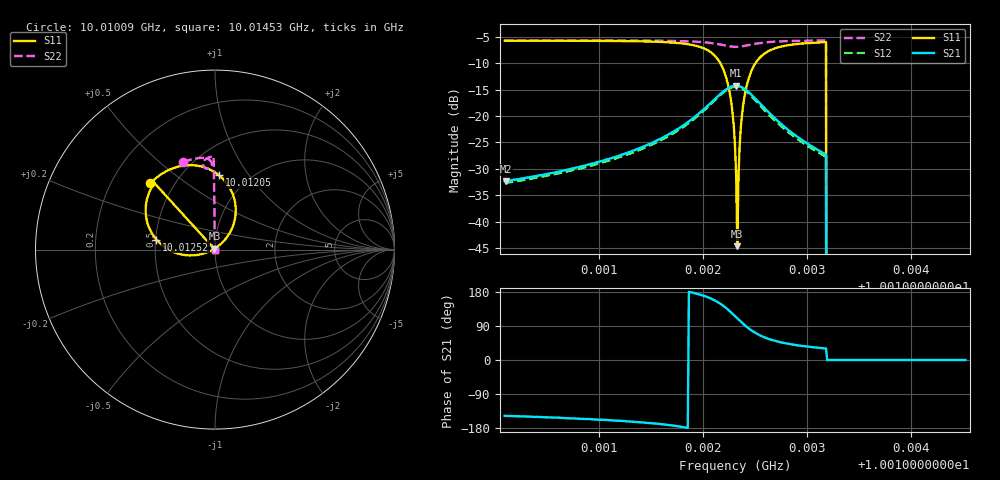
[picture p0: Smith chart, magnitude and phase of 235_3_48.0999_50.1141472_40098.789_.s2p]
#  HZ  S  RI  R  50.00
! Rohde & Schwarz Vector Network Analyzer
! Rohde-Schwarz,ZNB20-2Port,1311601062101988,3.16
! Created: UTC 12/23/2023, 3:58:12 AM
! freq[Hz]  re:S11  im:S11  re:S21  im:S21  re:S12  im:S12  re:S22  im:S22
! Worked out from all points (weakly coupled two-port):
!   401 points, 10.01009 GHz to 10.01453 GHz, reference 50 ohm
!   highest |S21| = -14.26 dB at 10.01232 GHz (marker M1); lowest = -32.4 dB at 10.0101 GHz (marker M2)
!   lowest |S11| = -44.7 dB at 10.01233 GHz (marker M3), VSWR 1.01, Z = 49.7 + j0.498 ohm
!   |S11| at or under -10 dB: 10.01216 GHz to 10.0125 GHz (338.5 kHz wide, 0.00338 % of centre); 10.01318 GHz to end of sweep
!   |S22| runs from - to -5.7 dB; largest |S21 - S12| = 0.0096
!   S11 on the Smith chart (normalised r, x): 10.01009 GHz: 0.37, +0.37; 10.01205 GHz: 0.73, +0.73; 10.01252 GHz: 0.51, +0.06; 10.01453 GHz: 1.00, +0.00
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1.0010087e10  -0.3614 0.3689  -0.0203 -0.013  -0.0187 -0.0135  -0.1767 0.4879
1.0010098e10  -0.3607 0.3694  -0.0203 -0.013  -0.0188 -0.0136  -0.176 0.4882
1.001083e10  -0.3056 0.4157  -0.0304 -0.0138  -0.0284 -0.0149  -0.1284 0.5031
1.0011574e10  -0.1974 0.464  -0.0589 -0.0118  -0.056 -0.0142  -0.0729 0.5113
1.0012051e10  0.0215 0.4146  -0.1227 0.033  -0.1207 0.0256  -0.0251 0.4945
1.0012162e10  0.1009 0.3035  -0.1376 0.0822  -0.1384 0.0739  -0.0177 0.4762
1.0012239e10  0.1099 0.1642  -0.1248 0.1347  -0.1282 0.126  -0.0229 0.4595
1.0012284e10  0.0707 0.0749  -0.1003 0.1635  -0.1049 0.1558  -0.0318 0.4524
1.0012306e10  0.0374 0.0362  -0.0841 0.1743  -0.0886 0.1671  -0.0372 0.4505
1.0012317e10  0.0187 0.0204  -0.0758 0.1781  -0.0797 0.1713  -0.0404 0.4502
1.0012328e10  -0.00302 0.00501  -0.0664 0.1813  -0.0709 0.1746  -0.0432 0.4501
1.001235e10  -0.0481 -0.0169  -0.0476 0.1848  -0.052 0.1786  -0.0492 0.4514
1.0012373e10  -0.0961 -0.0295  -0.0283 0.1849  -0.0328 0.1787  -0.0545 0.4537
1.0012395e10  -0.144 -0.0324  -0.01 0.1815  -0.0144 0.1754  -0.059 0.4573
1.0012439e10  -0.2288 -0.0145  0.0205 0.1666  0.0144 0.1613  -0.0648 0.4661
1.0012517e10  -0.3264 0.0559  0.0497 0.132  0.0441 0.1281  -0.0662 0.4817
1.0012694e10  -0.3862 0.2077  0.0601 0.0727  0.0546 0.0711  -0.0516 0.5041
1.0013049e10  -0.3534 0.3451  0.0426 0.0287  0.0392 0.0291  -0.0184 0.5179
1.001316e10  -0.3399 0.3669  0.0381 0.0227  0.0352 0.0234  -0.00924 0.5195
1.0013216e10  0 0  0 0  0 0  0 0
1.0013793e10  0 0  0 0  0 0  0 0
1.0014525e10  0 0  0 0  0 0  0 0
